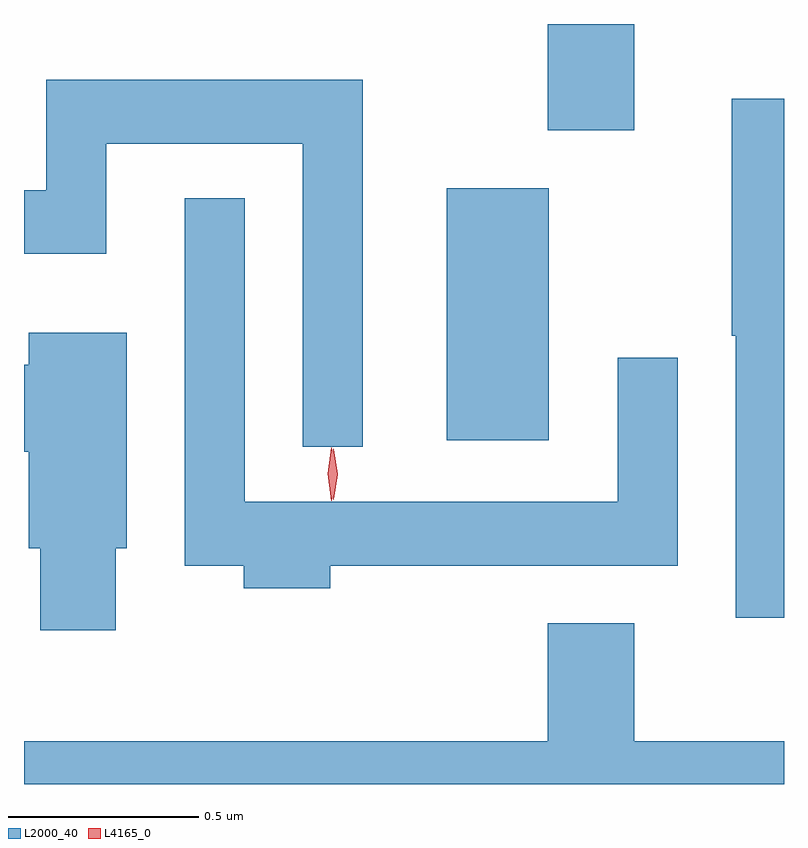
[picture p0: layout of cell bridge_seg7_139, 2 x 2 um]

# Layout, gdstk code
import gdstk
lib = gdstk.Library(unit=1e-6, precision=1e-09)
def R(c, l, rs):  # rectangles x0, y0, x1, y1
    for r in rs: c.add(gdstk.rectangle(r[:2], r[2:], *l))
def P(c, l, *ps):  # polygons
    for p in ps: c.add(gdstk.Polygon(p, *l))
L2000_40 = (2000, 40)
L4165_0 = (4165, 0)

bridge_seg7_139 = lib.new_cell('bridge_seg7_139')
R(bridge_seg7_139, L2000_40, [(1476.586,1735.356,1476.854,1736.019), (1476.851,1736.171,1477.079,1736.451)])
P(bridge_seg7_139, L2000_40, [(1476.364,1736.304),(1475.531,1736.304),(1475.531,1736.014),(1475.473,1736.014),(1475.473,1735.846),(1475.689,1735.846),(1475.689,1736.136),(1476.206,1736.136),(1476.206,1735.338),(1476.364,1735.338)],
  [(1477.473,1736.254),(1477.336,1736.254),(1477.336,1735.63),(1477.346,1735.63),(1477.346,1734.888),(1477.473,1734.888)],
  [(1476.279,1735.026),(1477.194,1735.026),(1477.194,1735.573),(1477.036,1735.573),(1477.036,1735.194),(1476.054,1735.194),(1476.054,1735.993),(1475.896,1735.993),(1475.896,1735.026),(1476.051,1735.026),(1476.051,1734.966),(1476.279,1734.966)],
  [(1475.714,1735.071),(1475.744,1735.071),(1475.744,1735.639),(1475.486,1735.639),(1475.486,1735.554),(1475.473,1735.554),(1475.473,1735.326),(1475.486,1735.326),(1475.486,1735.071),(1475.516,1735.071),(1475.516,1734.856),(1475.714,1734.856)],
  [(1477.473,1734.564),(1477.079,1734.564),(1477.079,1734.874),(1476.851,1734.874),(1476.851,1734.564),(1475.473,1734.564),(1475.473,1734.451),(1477.473,1734.451)])
P(bridge_seg7_139, L4165_0, [(1476.288,1735.199),(1476.287,1735.2),(1476.278,1735.266),(1476.287,1735.332),(1476.288,1735.333),(1476.288,1735.332),(1476.298,1735.266),(1476.288,1735.2)],
  [(1476.282,1735.197),(1476.282,1735.197),(1476.272,1735.267),(1476.282,1735.336),(1476.282,1735.336),(1476.283,1735.336),(1476.292,1735.267),(1476.283,1735.197)])

lib.write_gds('bridge_seg7_139.gds')
